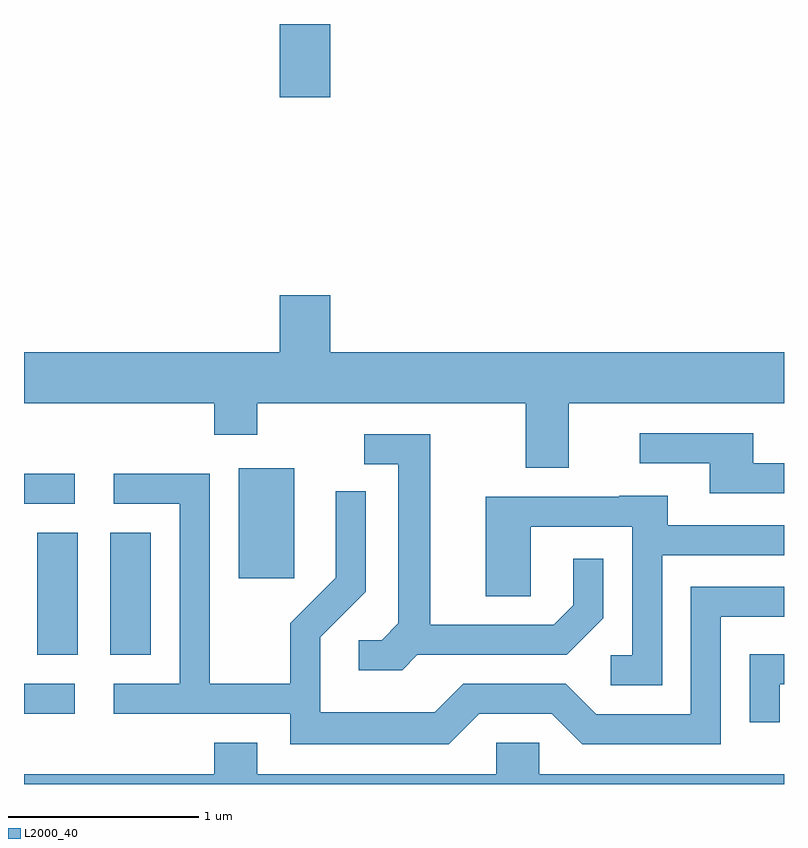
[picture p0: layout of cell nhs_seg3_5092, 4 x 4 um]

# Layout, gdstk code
import gdstk
lib = gdstk.Library(unit=1e-6, precision=1e-09)
def R(c, l, rs):  # rectangles x0, y0, x1, y1
    for r in rs: c.add(gdstk.rectangle(r[:2], r[2:], *l))
def P(c, l, *ps):  # polygons
    for p in ps: c.add(gdstk.Polygon(p, *l))
L2000_40 = (2000, 40)

nhs_seg3_5092 = lib.new_cell('nhs_seg3_5092')
R(nhs_seg3_5092, L2000_40, [(333.611,1244.261,333.878,1244.419), (333.681,1244.571,333.894,1245.214), (334.066,1244.571,334.279,1245.214), (334.741,1244.976,335.034,1245.554), (333.611,1245.366,333.878,1245.524), (334.956,1247.506,335.224,1247.892)])
P(nhs_seg3_5092, L2000_40, [(336.479,1245.896),(337.611,1245.896),(337.611,1246.164),(335.224,1246.164),(335.224,1246.464),(334.956,1246.464),(334.956,1246.164),(333.611,1246.164),(333.611,1245.896),(334.611,1245.896),(334.611,1245.731),(334.839,1245.731),(334.839,1245.896),(336.251,1245.896),(336.251,1245.556),(336.479,1245.556)],
  [(337.611,1245.579),(337.449,1245.579),(337.449,1245.739),(336.853,1245.739),(336.853,1245.581),(337.221,1245.581),(337.221,1245.421),(337.611,1245.421)],
  [(335.682,1244.571),(336.467,1244.571),(336.659,1244.764),(336.659,1245.078),(336.501,1245.078),(336.501,1244.832),(336.399,1244.729),(335.749,1244.729),(335.749,1245.734),(335.403,1245.734),(335.403,1245.576),(335.581,1245.576),(335.581,1244.737),(335.494,1244.649),(335.373,1244.649),(335.373,1244.491),(335.602,1244.491)],
  [(336.007,1244.261),(336.389,1244.261),(336.549,1244.101),(337.279,1244.101),(337.279,1244.771),(337.611,1244.771),(337.611,1244.929),(337.121,1244.929),(337.121,1244.259),(336.622,1244.259),(336.462,1244.419),(335.924,1244.419),(335.774,1244.269),(335.169,1244.269),(335.169,1244.664),(335.409,1244.904),(335.409,1245.433),(335.251,1245.433),(335.251,1244.977),(335.011,1244.737),(335.011,1244.419),(334.589,1244.419),(334.589,1245.524),(334.083,1245.524),(334.083,1245.366),(334.431,1245.366),(334.431,1244.419),(334.083,1244.419),(334.083,1244.261),(335.011,1244.261),(335.011,1244.101),(335.847,1244.101)],
  [(336.969,1245.096),(337.611,1245.096),(337.611,1245.254),(336.999,1245.254),(336.999,1245.409),(336.745,1245.409),(336.745,1245.404),(336.041,1245.404),(336.041,1244.881),(336.279,1244.881),(336.279,1245.246),(336.811,1245.246),(336.811,1244.569),(336.698,1244.569),(336.698,1244.411),(336.969,1244.411)],
  [(337.589,1244.416),(337.611,1244.416),(337.611,1244.574),(337.431,1244.574),(337.431,1244.218),(337.589,1244.218)],
  [(337.611,1243.944),(336.324,1243.944),(336.324,1244.109),(336.096,1244.109),(336.096,1243.944),(334.839,1243.944),(334.839,1244.109),(334.611,1244.109),(334.611,1243.944),(333.611,1243.944),(333.611,1243.892),(337.611,1243.892)])

lib.write_gds('nhs_seg3_5092.gds')
